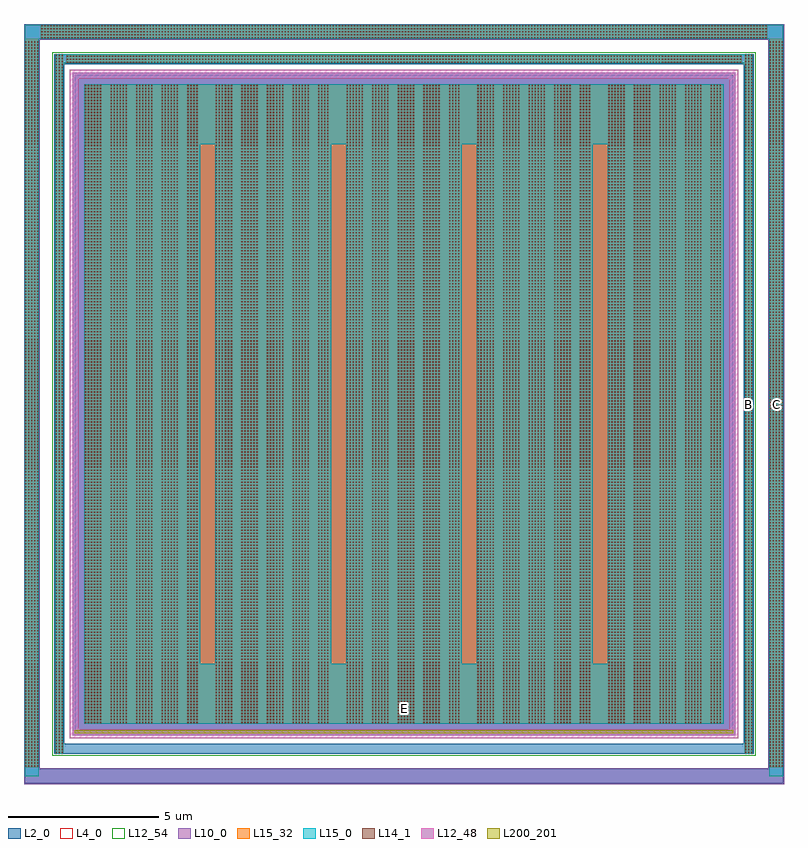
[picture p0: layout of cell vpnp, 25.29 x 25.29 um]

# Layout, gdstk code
import gdstk
lib = gdstk.Library(unit=1e-6, precision=1e-09)
def R(c, l, rs):  # rectangles x0, y0, x1, y1
    for r in rs: c.add(gdstk.rectangle(r[:2], r[2:], *l))
def A(c, l, x, y, w, h, nx, ny, dx, dy):  # array of equal rectangles
    R(c, l, [(x+i*dx, y+j*dy, x+i*dx+w, y+j*dy+h) for i in range(nx) for j in range(ny)])
L2_0 = (2, 0)
L4_0 = (4, 0)
L10_0 = (10, 0)
L12_48 = (12, 48)
L12_54 = (12, 54)
L14_1 = (14, 1)
L15_0 = (15, 0)
L15_32 = (15, 32)
L200_201 = (200, 201)

vpnp = lib.new_cell('vpnp')
R(vpnp, L2_0, [(-19.129,-11.159,6.123,-10.679), (-19.129,-10.679,-18.649,13.613), (5.643,-10.679,6.123,13.613), (-18.149,-10.179,5.143,-9.839), (-18.149,-9.839,-17.809,12.773), (4.803,-9.839,5.143,12.773), (-17.453,-9.483,4.447,12.417), (-18.149,12.773,5.143,13.113), (-19.129,13.613,6.123,14.093)])
R(vpnp, L4_0, [(-18.205,-10.235,5.199,13.169)])
R(vpnp, L10_0, [(-19.15,-11.18,6.144,-10.658), (-19.15,-10.658,-18.628,13.592), (5.622,-10.658,6.144,13.592), (-17.523,-9.553,4.517,12.487), (-19.15,13.592,6.144,14.114)])
R(vpnp, L12_48, [(-17.634,-9.664,4.628,-9.358), (-17.634,-9.358,-17.328,12.292), (4.322,-9.358,4.628,12.292), (-17.634,12.292,4.628,12.598)])
R(vpnp, L12_54, [(-18.205,-10.235,5.199,13.169)])
A(vpnp, L14_1, -19.109, -10.603, 0.04, 0.04, 5, 242, 0.1, 0.1)
A(vpnp, L14_1, 5.663, -10.603, 0.04, 0.04, 5, 242, 0.1, 0.1)
A(vpnp, L14_1, -18.099, -10.153, 0.04, 0.04, 3, 233, 0.1, 0.1)
A(vpnp, L14_1, 4.853, -10.153, 0.04, 0.04, 3, 233, 0.1, 0.1)
A(vpnp, L14_1, -17.123, -9.153, 0.04, 0.04, 6, 213, 0.1, 0.1)
A(vpnp, L14_1, -16.271, -9.153, 0.04, 0.04, 6, 213, 0.1, 0.1)
A(vpnp, L14_1, -15.419, -9.153, 0.04, 0.04, 6, 213, 0.1, 0.1)
A(vpnp, L14_1, -14.567, -9.153, 0.04, 0.04, 6, 213, 0.1, 0.1)
A(vpnp, L14_1, -13.715, -9.153, 0.04, 0.04, 4, 213, 0.1, 0.1)
A(vpnp, L14_1, -12.767, -9.153, 0.04, 0.04, 6, 213, 0.1, 0.1)
A(vpnp, L14_1, -11.915, -9.153, 0.04, 0.04, 6, 213, 0.1, 0.1)
A(vpnp, L14_1, -11.063, -9.153, 0.04, 0.04, 6, 213, 0.1, 0.1)
A(vpnp, L14_1, -10.211, -9.153, 0.04, 0.04, 6, 213, 0.1, 0.1)
A(vpnp, L14_1, -9.359, -9.153, 0.04, 0.04, 4, 213, 0.1, 0.1)
A(vpnp, L14_1, -8.412, -9.153, 0.04, 0.04, 6, 213, 0.1, 0.1)
A(vpnp, L14_1, -7.56, -9.153, 0.04, 0.04, 6, 213, 0.1, 0.1)
A(vpnp, L14_1, -6.708, -9.153, 0.04, 0.04, 6, 213, 0.1, 0.1)
A(vpnp, L14_1, -5.856, -9.153, 0.04, 0.04, 6, 213, 0.1, 0.1)
A(vpnp, L14_1, -5.004, -9.153, 0.04, 0.04, 4, 213, 0.1, 0.1)
A(vpnp, L14_1, -4.057, -9.153, 0.04, 0.04, 6, 213, 0.1, 0.1)
A(vpnp, L14_1, -3.205, -9.153, 0.04, 0.04, 6, 213, 0.1, 0.1)
A(vpnp, L14_1, -2.353, -9.153, 0.04, 0.04, 6, 213, 0.1, 0.1)
A(vpnp, L14_1, -1.501, -9.153, 0.04, 0.04, 6, 213, 0.1, 0.1)
A(vpnp, L14_1, -0.649, -9.153, 0.04, 0.04, 4, 213, 0.1, 0.1)
A(vpnp, L14_1, 0.298, -9.153, 0.04, 0.04, 6, 213, 0.1, 0.1)
A(vpnp, L14_1, 1.15, -9.153, 0.04, 0.04, 6, 213, 0.1, 0.1)
A(vpnp, L14_1, 2.002, -9.153, 0.04, 0.04, 6, 213, 0.1, 0.1)
A(vpnp, L14_1, 2.854, -9.153, 0.04, 0.04, 6, 213, 0.1, 0.1)
A(vpnp, L14_1, 3.706, -9.153, 0.04, 0.04, 4, 213, 0.1, 0.1)
A(vpnp, L14_1, -17.723, 12.823, 0.04, 0.04, 225, 3, 0.1, 0.1)
A(vpnp, L14_1, -18.573, 13.633, 0.04, 0.04, 242, 5, 0.1, 0.1)
A(vpnp, L15_0, -12.785, -7.171, 3.855, 17.276, 4, 1, 4.355, 0)
R(vpnp, L15_0, [(-19.127,-10.919,-18.651,14.091), (5.645,-10.919,6.121,14.091), (-18.117,-10.171,-17.841,13.105), (4.835,-10.171,5.111,13.105), (-17.141,-9.171,4.135,-7.171), (-17.141,-7.171,-13.286,10.105), (-17.141,10.105,4.135,12.105), (-17.841,12.805,4.835,13.105), (-18.651,13.615,5.645,14.091)])
R(vpnp, L15_32, [(-19.127,-10.621,-18.651,13.615), (5.645,-10.621,6.121,13.615), (-18.117,-10.171,-17.841,13.105), (4.835,-10.171,5.111,13.105), (-17.141,-9.171,4.135,12.105), (-17.741,12.805,4.735,13.081), (-18.591,13.615,5.585,14.091)])
R(vpnp, L200_201, [(-17.453,-9.483,4.447,-9.383)])
vpnp.add(gdstk.Label('E', (-6.503,-8.671), layer=15, texttype=20))
vpnp.add(gdstk.Label('B', (4.973,1.467), layer=15, texttype=20))
vpnp.add(gdstk.Label('C', (5.883,1.467), layer=15, texttype=20))

lib.write_gds('vpnp.gds')
